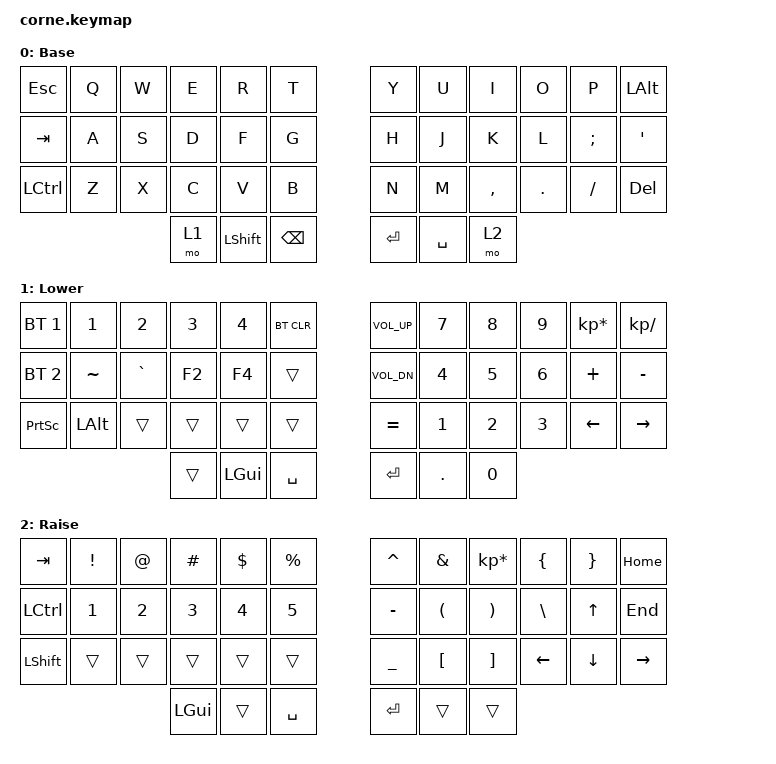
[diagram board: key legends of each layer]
/*
 * Copyright (c) 2020 The ZMK Contributors
 *
 * SPDX-License-Identifier: MIT
 */

#include <behaviors.dtsi>
#include <dt-bindings/zmk/bt.h>
#include <dt-bindings/zmk/keys.h>

/ {
    keymap {
        compatible = "zmk,keymap";

        default_layer {
            // -----------------------------------------------------------------------------------------
            // |  ESC |  Q  |  W  |  E  |  R  |  T  |   |  Y  |  U   |  I  |  O  |  P  | ALT |
            // | TAB |  A  |  S  |  D  |  F  |  G  |   |  H  |  J   |  K  |  L  |  ;  |  '   |
            // | LCTRL |  Z  |  X  |  C  |  V  |  B  |   |  N  |  M   |  ,  |  .  |  /  | DEL  |
            //                    | Lower | SHFT | BSPC |   | SPC | ENT  | RSE |

            label = "Base";
            bindings = <
&kp ESC    &kp Q  &kp W  &kp E  &kp R      &kp T       &kp Y    &kp U      &kp I      &kp O    &kp P     &kp LALT
&kp TAB    &kp A  &kp S  &kp D  &kp F      &kp G       &kp H    &kp J      &kp K      &kp L    &kp SEMI  &kp SQT
&kp LCTRL  &kp Z  &kp X  &kp C  &kp V      &kp B       &kp N    &kp M      &kp COMMA  &kp DOT  &kp FSLH  &kp DEL
                         &mo 1  &kp LSHFT  &kp BSPC    &kp RET  &kp SPACE  &mo 2
            >;
        };

        lower_layer {
            // -----------------------------------------------------------------------------------------
            // |      |     |     |     |     |     |   | VOL UP |  7  |  8  |  9  |  *  |  /  |
            // |      |     |     |     |     |     |   | VOL DN |  4  |  5  |  6  |  +  |  -  |
            // |BTCLR | BT1 | BT2 | BT3 | BT4 | BT5 |   |    =   |  1  |  2  |  3  | LEFT|RIGHT|
            //                    |     | WIN | SPC |   |   ENT  |  .  |  0  |

            label = "Lower";
            bindings = <
&bt BT_SEL 1     &kp N1        &kp N2     &kp N3  &kp N4    &bt BT_CLR    &kp C_VOL_UP  &kp N7   &kp N8  &kp N9  &kp KP_MULTIPLY  &kp KP_SLASH
&bt BT_SEL 2     &kp TILDE     &kp GRAVE  &kp F2  &kp F4    &trans        &kp C_VOL_DN  &kp N4   &kp N5  &kp N6  &kp PLUS         &kp MINUS
&kp PRINTSCREEN  &kp LEFT_ALT  &trans     &trans  &trans    &trans        &kp EQUAL     &kp N1   &kp N2  &kp N3  &kp LEFT         &kp RIGHT
                                          &trans  &kp LGUI  &kp SPACE     &kp RET       &kp DOT  &kp N0
            >;
        };

        raise_layer {
            // -----------------------------------------------------------------------------------------
            // | TAB  |  !  |  @  |  #  |  $  |  %  |   |  ^  |  &  |  *  |  (  |  )  | HOME |
            // | CTRL |  1  |  2  |  3  |  4  |  5  |   |  -  |  (  |  )  |     |  UP  |  END |
            // | SHFT |     |     |     |     |     |   |  _  |  [  |  ]  | LEFT| DOWN |  RIGHT |
            //                    | GUI |     | SPC |   | ENT |     | ALT |

            label = "Raise";
            bindings = <
&kp TAB    &kp EXCL  &kp AT  &kp HASH  &kp DLLR  &kp PRCNT    &kp CARET  &kp AMPS  &kp KP_MULTIPLY  &kp LBRC       &kp RBRC  &kp HOME
&kp LCTRL  &kp N1    &kp N2  &kp N3    &kp N4    &kp N5       &kp MINUS  &kp LPAR  &kp RPAR         &kp BACKSLASH  &kp UP    &kp END
&kp LSHFT  &trans    &trans  &trans    &trans    &trans       &kp UNDER  &kp LBKT  &kp RBKT         &kp LEFT       &kp DOWN  &kp RIGHT
                             &kp LGUI  &trans    &kp SPACE    &kp RET    &trans    &trans
            >;
        };
    };
};
